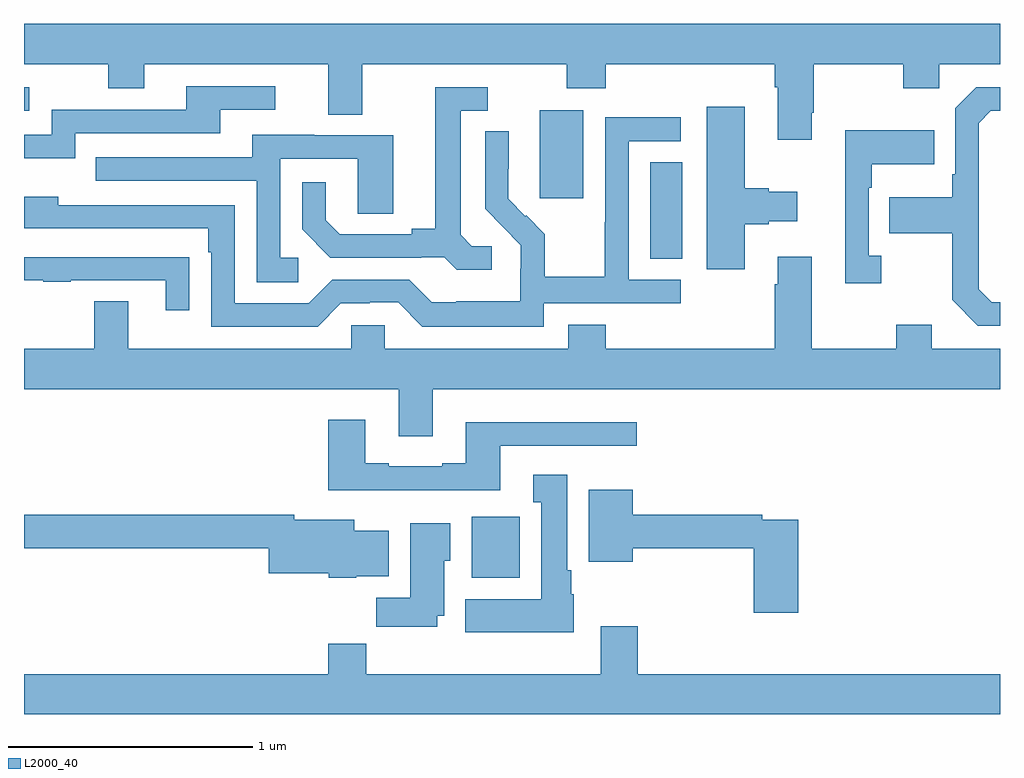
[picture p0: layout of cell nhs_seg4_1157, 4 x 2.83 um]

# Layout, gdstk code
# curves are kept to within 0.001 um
import gdstk
lib = gdstk.Library(unit=1e-6, precision=1e-09)
def R(c, l, rs):  # rectangles x0, y0, x1, y1
    for r in rs: c.add(gdstk.rectangle(r[:2], r[2:], *l))
def P(c, l, *ps):  # polygons
    for p in ps: c.add(gdstk.Polygon(p, *l))
L2000_40 = (2000, 40)

nhs_seg4_1157 = lib.new_cell('nhs_seg4_1157')
R(nhs_seg4_1157, L2000_40, [(172.835,764.078,173.031,764.329), (173.567,765.385,173.698,765.782), (173.114,765.633,173.293,765.994), (171,765.993,171.022,766.089)])
P(nhs_seg4_1157, L2000_40, [(174.229,765.985),(174.237,765.985),(174.237,766.184),(174.604,766.184),(174.604,766.085),(174.75,766.085),(174.75,766.184),(175,766.184),(175,766.348),(171,766.348),(171,766.184),(171.346,766.184),(171.346,766.085),(171.493,766.085),(171.493,766.184),(172.247,766.184),(172.247,765.976),(172.387,765.976),(172.387,766.184),(173.224,766.184),(173.224,766.085),(173.384,766.085),(173.384,766.184),(174.077,766.184),(174.077,766.088),(174.089,766.088),(174.089,765.873),(174.229,765.873)],
  [(171.21,765.9),(171.805,765.9),(171.805,765.996),(172.03,765.996),(172.03,766.092),(171.665,766.092),(171.665,765.996),(171.114,765.996),(171.114,765.894),(171,765.894),(171,765.797),(171.21,765.797)],
  [(172.918,765.438),(172.836,765.438),(172.789,765.485),(172.789,765.993),(172.9,765.993),(172.9,766.089),(172.685,766.089),(172.685,765.509),(172.589,765.509),(172.589,765.486),(172.294,765.486),(172.237,765.543),(172.237,765.7),(172.14,765.7),(172.14,765.506),(172.256,765.39),(172.628,765.39),(172.628,765.393),(172.722,765.393),(172.774,765.341),(172.918,765.341)],
  [(175,765.207),(174.966,765.207),(174.912,765.261),(174.912,765.942),(174.963,765.993),(175,765.993),(175,766.089),(174.903,766.089),(174.816,766.002),(174.816,765.733),(174.804,765.733),(174.804,765.637),(174.547,765.637),(174.547,765.49),(174.804,765.49),(174.804,765.217),(174.909,765.111),(175,765.111)],
  [(173.953,765.527),(174.053,765.527),(174.053,765.539),(174.169,765.539),(174.169,765.661),(174.053,765.661),(174.053,765.674),(173.953,765.674),(173.953,766.009),(173.798,766.009),(173.798,765.342),(173.953,765.342)],
  [(173.13,765.204),(173.692,765.204),(173.692,765.3),(173.478,765.3),(173.478,765.867),(173.692,765.867),(173.692,765.966),(173.382,765.966),(173.382,765.536),(173.38,765.536),(173.38,765.313),(173.135,765.313),(173.135,765.487),(173.058,765.564),(173.055,765.561),(172.985,765.632),(172.986,765.908),(172.89,765.908),(172.89,765.59),(173.036,765.442),(173.036,765.345),(173.034,765.345),(173.034,765.211),(172.771,765.211),(172.771,765.207),(172.671,765.207),(172.578,765.3),(172.263,765.3),(172.167,765.204),(171.864,765.204),(171.864,765.606),(171.14,765.606),(171.14,765.64),(171,765.64),(171,765.51),(171.755,765.51),(171.755,765.413),(171.768,765.413),(171.768,765.108),(172.203,765.108),(172.299,765.204),(172.418,765.204),(172.418,765.207),(172.533,765.207),(172.633,765.107),(173.13,765.107)],
  [(174.514,765.398),(174.462,765.398),(174.462,765.677),(174.475,765.677),(174.475,765.773),(174.731,765.773),(174.731,765.913),(174.365,765.913),(174.365,765.285),(174.514,765.285)],
  [(172.123,765.39),(172.05,765.39),(172.05,765.795),(172.368,765.795),(172.368,765.571),(172.513,765.571),(172.513,765.891),(172.189,765.891),(172.189,765.895),(171.935,765.895),(171.935,765.801),(171.295,765.801),(171.295,765.705),(171.954,765.705),(171.954,765.289),(172.123,765.289)],
  [(172.675,764.852),(175,764.852),(175,765.016),(174.721,765.016),(174.721,765.115),(174.574,765.115),(174.574,765.016),(174.229,765.016),(174.229,765.394),(174.089,765.394),(174.089,765.281),(174.077,765.281),(174.077,765.016),(173.384,765.016),(173.384,765.115),(173.231,765.115),(173.231,765.016),(172.479,765.016),(172.479,765.114),(172.341,765.114),(172.341,765.016),(171.427,765.016),(171.427,765.211),(171.287,765.211),(171.287,765.016),(171,765.016),(171,764.852),(172.535,764.852),(172.535,764.658),(172.675,764.658)],
  [(171.677,765.392),(171.575,765.392),(171.575,765.393),(171,765.393),(171,765.297),(171.079,765.297),(171.079,765.292),(171.191,765.292),(171.191,765.297),(171.581,765.297),(171.581,765.174),(171.677,765.174)],
  [(172.951,764.619),(173.512,764.619),(173.512,764.716),(172.811,764.716),(172.811,764.548),(172.715,764.548),(172.715,764.535),(172.495,764.535),(172.495,764.548),(172.399,764.548),(172.399,764.725),(172.247,764.725),(172.247,764.438),(172.951,764.438)],
  [(173.254,764.01),(173.242,764.01),(173.242,764.11),(173.227,764.11),(173.227,764.5),(173.087,764.5),(173.087,764.387),(173.12,764.387),(173.12,763.99),(172.808,763.99),(172.808,763.856),(173.254,763.856)],
  [(174.173,764.316),(174.026,764.316),(174.026,764.336),(173.494,764.336),(173.494,764.44),(173.315,764.44),(173.315,764.144),(173.494,764.144),(173.494,764.2),(173.99,764.2),(173.99,763.935),(174.173,763.935)],
  [(172.362,764.084),(172.495,764.084),(172.495,764.272),(172.354,764.272),(172.354,764.317),(172.108,764.317),(172.108,764.336),(171,764.336),(171,764.2),(172.004,764.2),(172.004,764.096),(172.248,764.096),(172.248,764.078),(172.362,764.078)],
  [(172.693,763.922),(172.723,763.922),(172.723,764.148),(172.747,764.148),(172.747,764.302),(172.583,764.302),(172.583,763.996),(172.444,763.996),(172.444,763.878),(172.693,763.878)],
  [(175,763.684),(173.516,763.684),(173.516,763.879),(173.363,763.879),(173.363,763.684),(172.403,763.684),(172.403,763.808),(172.247,763.808),(172.247,763.684),(171,763.684),(171,763.52),(175,763.52)])

lib.write_gds('nhs_seg4_1157.gds')
